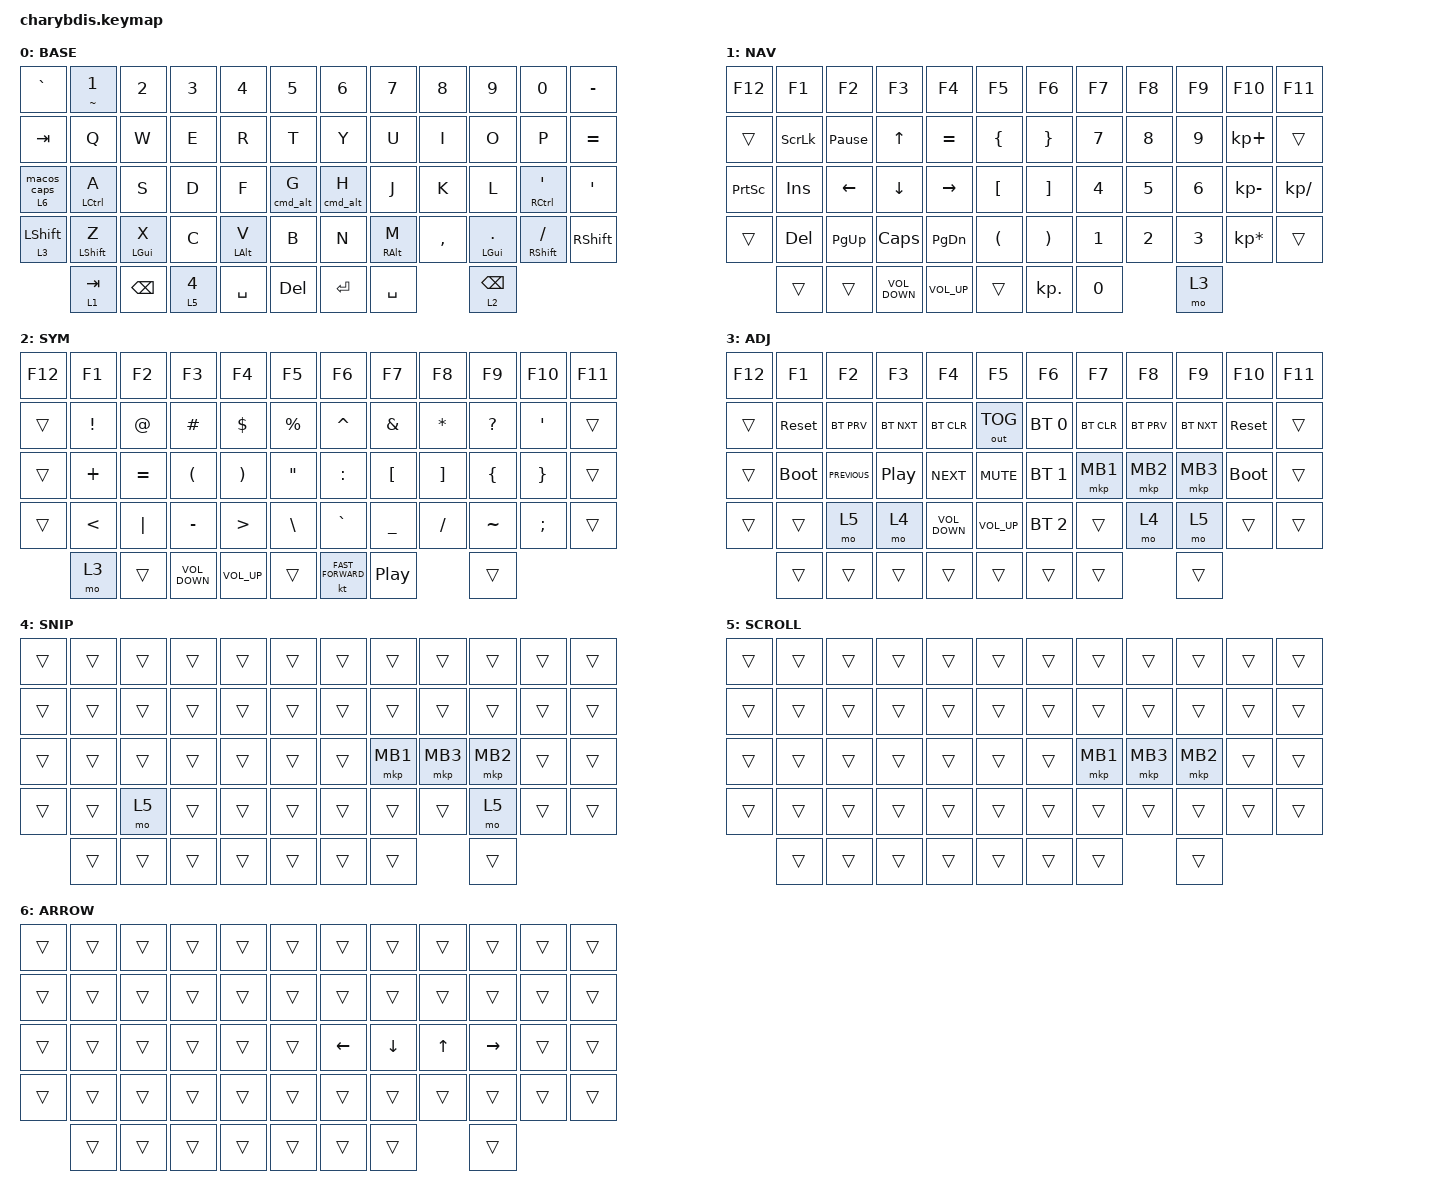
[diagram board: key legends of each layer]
#include <dt-bindings/zmk/mouse.h>
#include <behaviors/mouse_keys.dtsi>
#include <behaviors.dtsi>
#include <dt-bindings/zmk/bt.h>
#include <dt-bindings/zmk/keys.h>
#include <dt-bindings/zmk/outputs.h>
#include <dt-bindings/zmk/pointing.h>

/ {
    chosen { zmk,physical-layout = &charybdis_6col_layout; };
};

// clicking a mouse button also activates layer 4 (SNIP/mouse) for 10 seconds
&mkp_input_listener { input-processors = <&zip_temp_layer 4 10000>; };

&mt {
    quick-tap-ms = <200>;
    flavor = "tap-preferred";
    tapping-term-ms = <170>;
};

&lt {
    quick-tap-ms = <200>;
    flavor = "tap-preferred";
    tapping-term-ms = <170>;
};

/ {
    macros {
        cmd_alt: cmd_alt {
            compatible = "zmk,behavior-macro-one-param";
            #binding-cells = <1>;
            label = "CMD_ALT";
            bindings
                = <&macro_press &kp LGUI &kp LALT>
                , <&macro_pause_for_release>
                , <&macro_release &kp LGUI &kp LALT>;
        };

        // macOS ignores Caps Lock presses shorter than ~100ms, so hold the tap a bit longer
        // (param is unused, but hold-tap always supplies one to each side)
        macos_caps: macos_caps {
            compatible = "zmk,behavior-macro-one-param";
            #binding-cells = <1>;
            label = "MACOS_CAPS";
            tap-ms = <100>;
            bindings = <&macro_tap &kp CAPS>;
        };
    };

    behaviors {
        lt_arrow_caps: lt_arrow_caps {
            compatible = "zmk,behavior-hold-tap";
            label = "LT_ARROW_CAPS";
            #binding-cells = <2>;
            bindings = <&mo>, <&macos_caps>;
            tapping-term-ms = <170>;
            quick-tap-ms = <200>;
            flavor = "tap-preferred";
        };

        ht_cmd_alt: ht_cmd_alt {
            compatible = "zmk,behavior-hold-tap";
            label = "HT_CMD_ALT";
            #binding-cells = <2>;
            bindings = <&cmd_alt>, <&kp>;
            tapping-term-ms = <170>;
            quick-tap-ms = <200>;
            flavor = "tap-preferred";
        };

        ht_1_tilde: ht_1_tilde {
            compatible = "zmk,behavior-hold-tap";
            label = "HT_1_TILDE";
            #binding-cells = <2>;
            tapping-term-ms = <170>;
            quick-tap-ms = <200>;
            flavor = "tap-preferred";
            bindings = <&kp>, <&kp>;
        };

        tog_off: toggle_layer_off {
            compatible = "zmk,behavior-toggle-layer";
            #binding-cells = <1>;
            display-name = "Toggle Layer Off";
            toggle-mode = "off";
        };

        // hold: momentary layer (scroll) / tap: force the AML temp layer off
        mo_exit_AML: mo_exit_AML {
            compatible = "zmk,behavior-hold-tap";
            label = "MO_EXIT_AML";
            #binding-cells = <2>;
            bindings = <&mo>, <&tog_off>;
            tapping-term-ms = <200>;
            flavor = "hold-preferred";
        };
    };

    combos {
        compatible = "zmk,combos";

        combo_esc {
            timeout-ms = <50>;
            key-positions = <13 14>;
            bindings = <&kp ESC>;
        };

        combo_backspace {
            timeout-ms = <50>;
            key-positions = <21 22>;
            bindings = <&kp BACKSPACE>;
        };

        // Hold three keys (e.g. right thumb cluster) to unlock ZMK Studio for keymap edits
        combo_studio_unlock {
            timeout-ms = <50>;
            key-positions = <53 54 55>;
            bindings = <&studio_unlock>;
        };
    };

    keymap {
        compatible = "zmk,keymap";

        BASE {
            bindings = <
&kp GRAVE   &ht_1_tilde TILDE N1      &kp N2         &kp N3      &kp N4        &kp N5   &kp N6            &kp N7        &kp N8      &kp N9           &kp N0          &kp MINUS
&kp TAB     &kp Q        &kp W          &kp E       &kp R         &kp T               &kp Y  &kp U         &kp I       &kp O            &kp P           &kp EQUAL
&lt_arrow_caps 6 0  &mt LCTRL A  &kp S          &kp D       &kp F         &ht_cmd_alt 0 G     &ht_cmd_alt 0 H  &kp J         &kp K       &kp L            &mt RCTRL APOS  &kp APOS
&lt 3 LSHIFT &mt LSHIFT Z &mt LGUI X     &kp C       &mt LALT V    &kp B               &kp N  &mt RALT M    &kp COMMA   &mt LGUI DOT     &mt RSHIFT SLASH  &kp RSHIFT
            &lt 1 TAB    &kp BACKSPACE  &mo_exit_AML 5 4    &kp SPACE     &kp DEL  &kp ENTER         &kp SPACE                 &lt 2 BACKSPACE
            >;
        };

        NAV {
            bindings = <
&kp F12          &kp F1          &kp F2           &kp F3             &kp F4           &kp F5    &kp F6                &kp F7  &kp F8  &kp F9  &kp F10          &kp F11
&trans           &kp SCROLLLOCK  &kp PAUSE_BREAK  &kp UP             &kp EQUAL        &kp LBRC              &kp RBRC  &kp N7  &kp N8  &kp N9  &kp KP_PLUS      &trans
&kp PRINTSCREEN  &kp INSERT      &kp LEFT         &kp DOWN           &kp RIGHT        &kp LBKT              &kp RBKT  &kp N4  &kp N5  &kp N6  &kp KP_MINUS     &kp KP_DIVIDE
&trans           &kp DEL         &kp PG_UP        &kp CAPS           &kp PG_DN        &kp LPAR              &kp RPAR  &kp N1  &kp N2  &kp N3  &kp KP_MULTIPLY  &trans
                 &trans          &trans           &kp C_VOLUME_DOWN  &kp C_VOLUME_UP  &trans    &kp KP_DOT            &kp N0          &mo 3
            >;
        };

        SYM {
            bindings = <
&kp F12  &kp F1         &kp F2     &kp F3             &kp F4            &kp F5         &kp F6                         &kp F7            &kp F8     &kp F9        &kp F10        &kp F11
&trans   &kp EXCL       &kp AT     &kp HASH           &kp DLLR          &kp PRCNT                          &kp CARET  &kp AMPS          &kp STAR   &kp QUESTION  &kp SQT        &trans
&trans   &kp PLUS       &kp EQUAL  &kp LPAR           &kp RPAR          &kp DQT                            &kp COLON  &kp LBKT          &kp RBKT   &kp LBRC      &kp RBRC       &trans
&trans   &kp LESS_THAN  &kp PIPE   &kp MINUS          &kp GREATER_THAN  &kp BACKSLASH                      &kp GRAVE  &kp UNDERSCORE    &kp SLASH  &kp TILDE     &kp SEMICOLON  &trans
         &mo 3          &trans     &kp C_VOLUME_DOWN  &kp C_VOLUME_UP   &trans         &kt C_FAST_FORWARD             &kp C_PLAY_PAUSE             &trans
            >;
        };

        ADJ {
            bindings = <
&kp F12  &kp F1       &kp F2          &kp F3            &kp F4             &kp F5           &kp F6                &kp F7      &kp F8      &kp F9      &kp F10      &kp F11
&trans   &sys_reset   &bt BT_PRV      &bt BT_NXT        &bt BT_CLR         &out OUT_TOG             &bt BT_SEL 0  &bt BT_CLR  &bt BT_PRV  &bt BT_NXT  &sys_reset   &trans
&trans   &bootloader  &kp C_PREVIOUS  &kp C_PLAY_PAUSE  &kp C_NEXT         &kp C_MUTE               &bt BT_SEL 1  &mkp MB1    &mkp MB2    &mkp MB3    &bootloader  &trans
&trans   &trans       &mo 5           &mo 4             &kp C_VOLUME_DOWN  &kp C_VOLUME_UP          &bt BT_SEL 2  &trans      &mo 4       &mo 5       &trans       &trans
         &trans       &trans          &trans            &trans             &trans           &trans                &trans                  &trans
            >;
        };

        SNIP {
            bindings = <
&trans  &trans  &trans  &trans  &trans  &trans  &trans          &trans    &trans    &trans    &trans  &trans
&trans  &trans  &trans  &trans  &trans  &trans          &trans  &trans    &trans    &trans    &trans  &trans
&trans  &trans  &trans  &trans  &trans  &trans          &trans  &mkp MB1  &mkp MB3  &mkp MB2  &trans  &trans
&trans  &trans  &mo 5   &trans  &trans  &trans          &trans  &trans    &trans    &mo 5     &trans  &trans
        &trans  &trans  &trans  &trans  &trans  &trans          &trans              &trans
            >;
        };

        SCROLL {
            bindings = <
&trans  &trans  &trans  &trans  &trans  &trans  &trans          &trans    &trans    &trans    &trans  &trans
&trans  &trans  &trans  &trans  &trans  &trans          &trans  &trans    &trans    &trans    &trans  &trans
&trans  &trans  &trans  &trans  &trans  &trans          &trans  &mkp MB1  &mkp MB3  &mkp MB2  &trans  &trans
&trans  &trans  &trans  &trans  &trans  &trans          &trans  &trans    &trans    &trans    &trans  &trans
        &trans  &trans  &trans  &trans  &trans  &trans          &trans              &trans
            >;
        };

        ARROW {
            bindings = <
&trans  &trans  &trans  &trans  &trans  &trans  &trans          &trans    &trans    &trans     &trans  &trans
&trans  &trans  &trans  &trans  &trans  &trans          &trans  &trans    &trans    &trans     &trans  &trans
&trans  &trans  &trans  &trans  &trans  &trans          &kp LEFT  &kp DOWN  &kp UP  &kp RIGHT  &trans  &trans
&trans  &trans  &trans  &trans  &trans  &trans          &trans  &trans    &trans    &trans     &trans  &trans
        &trans  &trans  &trans  &trans  &trans  &trans          &trans              &trans
            >;
        };
    };
};
